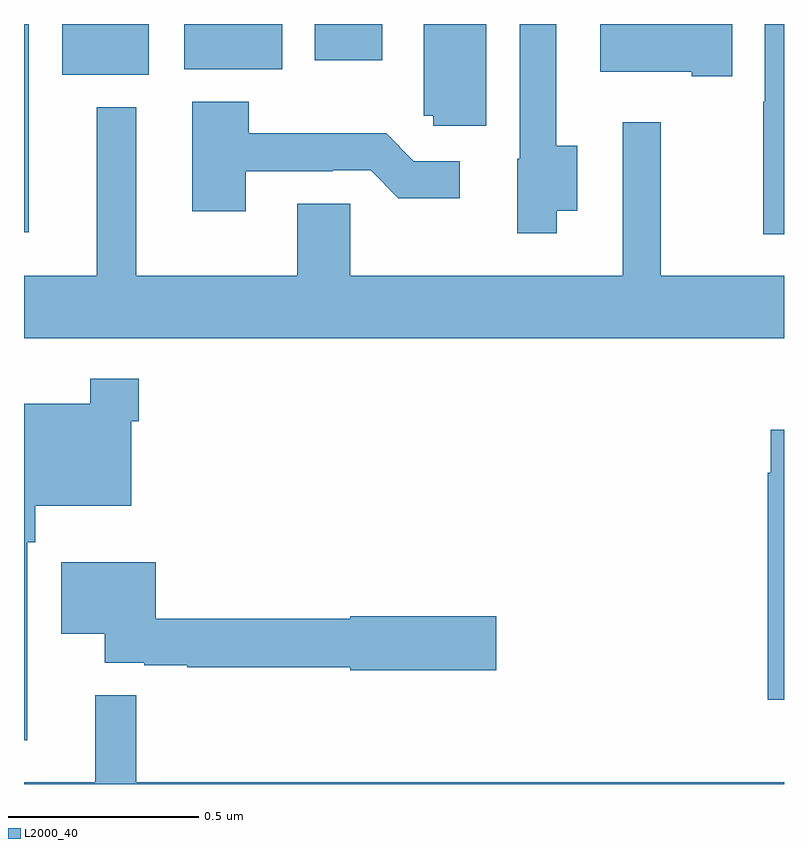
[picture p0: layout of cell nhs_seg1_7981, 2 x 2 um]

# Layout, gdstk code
import gdstk
lib = gdstk.Library(unit=1e-6, precision=1e-09)
def R(c, l, rs):  # rectangles x0, y0, x1, y1
    for r in rs: c.add(gdstk.rectangle(r[:2], r[2:], *l))
def P(c, l, *ps):  # polygons
    for p in ps: c.add(gdstk.Polygon(p, *l))
L2000_40 = (2000, 40)

nhs_seg1_7981 = lib.new_cell('nhs_seg1_7981')
R(nhs_seg1_7981, L2000_40, [(210,578.651,210.013,579.199), (210.101,579.065,210.328,579.199), (210.422,579.08,210.68,579.199), (210.765,579.104,210.943,579.199)])
P(nhs_seg1_7981, L2000_40, [(211.216,579.199),(211.052,579.199),(211.052,578.958),(211.077,578.958),(211.077,578.931),(211.216,578.931)],
  [(211.864,579.199),(211.517,579.199),(211.517,579.074),(211.757,579.074),(211.757,579.062),(211.864,579.062)],
  [(212,579.199),(211.949,579.199),(211.949,578.994),(211.946,578.994),(211.946,578.646),(212,578.646)],
  [(211.402,578.708),(211.456,578.708),(211.456,578.879),(211.401,578.879),(211.401,579.199),(211.305,579.199),(211.305,578.844),(211.298,578.844),(211.298,578.648),(211.402,578.648)],
  [(210.583,578.811),(210.812,578.811),(210.812,578.814),(210.912,578.814),(210.985,578.741),(211.147,578.741),(211.147,578.838),(211.026,578.838),(210.953,578.911),(210.591,578.911),(210.591,578.995),(210.443,578.995),(210.443,578.706),(210.583,578.706)],
  [(212,578.536),(211.676,578.536),(211.676,578.941),(211.575,578.941),(211.575,578.536),(210.858,578.536),(210.858,578.726),(210.719,578.726),(210.719,578.536),(210.295,578.536),(210.295,578.98),(210.191,578.98),(210.191,578.536),(210,578.536),(210,578.372),(212,578.372)],
  [(210.009,577.835),(210.029,577.835),(210.029,577.931),(210.282,577.931),(210.282,578.153),(210.302,578.153),(210.302,578.266),(210.174,578.266),(210.174,578.2),(210,578.2),(210,577.314),(210.009,577.314)],
  [(212,578.131),(211.965,578.131),(211.965,578.018),(211.957,578.018),(211.957,577.421),(212,577.421)],
  [(211.243,577.64),(210.858,577.64),(210.858,577.634),(210.347,577.634),(210.347,577.783),(210.098,577.783),(210.098,577.595),(210.212,577.595),(210.212,577.518),(210.316,577.518),(210.316,577.512),(210.43,577.512),(210.43,577.506),(210.858,577.506),(210.858,577.498),(211.243,577.498)],
  [(212,577.204),(210.296,577.204),(210.296,577.433),(210.188,577.433),(210.188,577.204),(210,577.204),(210,577.199),(212,577.199)])

lib.write_gds('nhs_seg1_7981.gds')
